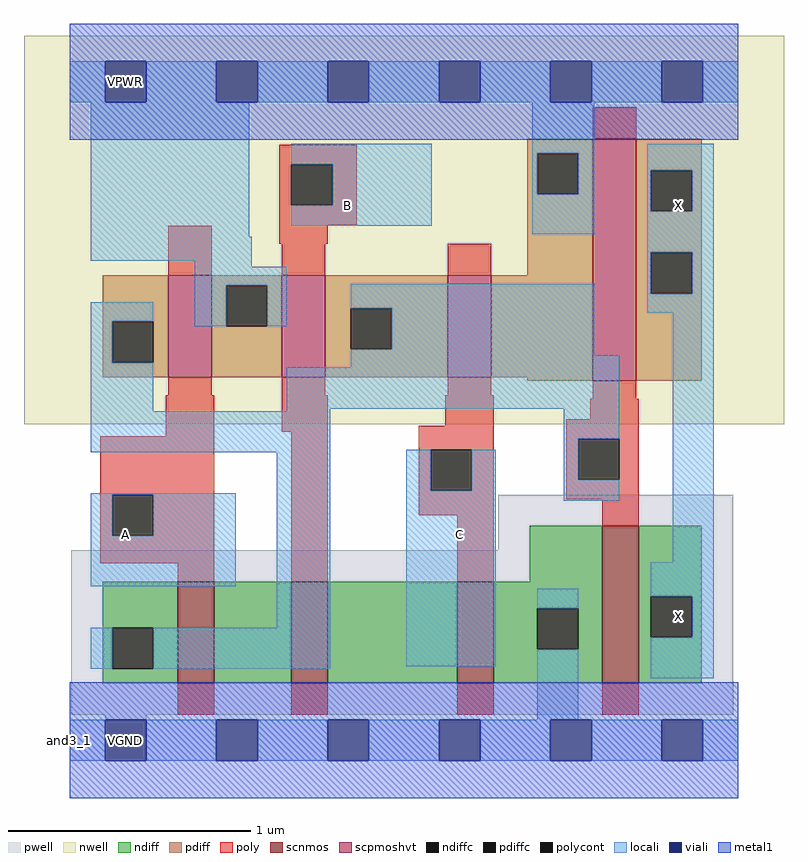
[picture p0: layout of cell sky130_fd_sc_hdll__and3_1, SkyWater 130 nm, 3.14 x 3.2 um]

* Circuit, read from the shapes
.subckt sky130_fd_sc_hdll__and3_1 A B C VGND VNB VPB VPWR X
XM1 n1 A n2 VNB sky130_fd_pr__nfet_01v8 w=0.42 l=0.15
XM2 n3 B n1 VNB sky130_fd_pr__nfet_01v8 w=0.42 l=0.15
XM3 VGND C n3 VNB sky130_fd_pr__nfet_01v8 w=0.42 l=0.15
XM4 X n2 VGND VNB sky130_fd_pr__nfet_01v8 w=0.65 l=0.15
XM5 VPWR A n2 VPB sky130_fd_pr__pfet_01v8_hvt w=0.42 l=0.18
XM6 n2 B VPWR VPB sky130_fd_pr__pfet_01v8_hvt w=0.42 l=0.18
XM7 VPWR C n2 VPB sky130_fd_pr__pfet_01v8_hvt w=0.42 l=0.18
XM8 X n2 VPWR VPB sky130_fd_pr__pfet_01v8_hvt w=1 l=0.18
.ends

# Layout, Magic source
magic
tech sky130A
magscale 1 2
<< nwell >>
rect -38 261 590 582
<< pwell >>
rect 354 157 548 203
rect 1 21 548 157
rect 29 -17 63 21
<< scnmos >>
rect 89 47 119 131
rect 183 47 213 131
rect 320 47 350 131
rect 440 47 470 177
<< scpmoshvt >>
rect 81 300 117 384
rect 175 300 211 384
rect 312 300 348 384
rect 432 297 468 497
<< ndiff >>
rect 380 131 440 177
rect 27 93 89 131
rect 27 59 35 93
rect 69 59 89 93
rect 27 47 89 59
rect 119 47 183 131
rect 213 47 320 131
rect 350 109 440 131
rect 350 75 386 109
rect 420 75 440 109
rect 350 47 440 75
rect 470 119 522 177
rect 470 85 480 119
rect 514 85 522 119
rect 470 47 522 85
<< pdiff >>
rect 378 485 432 497
rect 378 451 386 485
rect 420 451 432 485
rect 378 384 432 451
rect 27 346 81 384
rect 27 312 35 346
rect 69 312 81 346
rect 27 300 81 312
rect 117 376 175 384
rect 117 342 129 376
rect 163 342 175 376
rect 117 300 175 342
rect 211 357 312 384
rect 211 323 232 357
rect 266 323 312 357
rect 211 300 312 323
rect 348 300 432 384
rect 378 297 432 300
rect 468 471 522 497
rect 468 437 480 471
rect 514 437 522 471
rect 468 403 522 437
rect 468 369 480 403
rect 514 369 522 403
rect 468 297 522 369
<< ndiffc >>
rect 35 59 69 93
rect 386 75 420 109
rect 480 85 514 119
<< pdiffc >>
rect 386 451 420 485
rect 35 312 69 346
rect 129 342 163 376
rect 232 323 266 357
rect 480 437 514 471
rect 480 369 514 403
<< poly >>
rect 432 497 468 523
rect 173 476 237 492
rect 173 442 183 476
rect 217 442 237 476
rect 173 426 237 442
rect 81 384 117 425
rect 173 410 213 426
rect 175 384 211 410
rect 312 384 348 410
rect 81 285 117 300
rect 175 285 211 300
rect 312 285 348 300
rect 79 251 119 285
rect 175 255 213 285
rect 310 260 350 285
rect 432 282 468 297
rect 430 265 470 282
rect 25 203 119 251
rect 25 169 35 203
rect 69 169 119 203
rect 25 146 119 169
rect 89 131 119 146
rect 183 131 213 255
rect 288 240 350 260
rect 288 206 298 240
rect 332 206 350 240
rect 288 186 350 206
rect 410 249 470 265
rect 410 215 420 249
rect 454 215 470 249
rect 410 199 470 215
rect 320 131 350 186
rect 440 177 470 199
rect 89 21 119 47
rect 183 21 213 47
rect 320 21 350 47
rect 440 21 470 47
<< polycont >>
rect 183 442 217 476
rect 35 169 69 203
rect 298 206 332 240
rect 420 215 454 249
<< locali >>
rect 0 527 29 561
rect 63 527 121 561
rect 155 527 213 561
rect 247 527 305 561
rect 339 527 397 561
rect 431 527 489 561
rect 523 527 552 561
rect 17 416 148 527
rect 183 476 299 493
rect 217 442 299 476
rect 183 425 299 442
rect 382 485 433 527
rect 382 451 386 485
rect 420 451 433 485
rect 382 418 433 451
rect 477 471 532 493
rect 477 437 480 471
rect 514 437 532 471
rect 17 396 150 416
rect 103 391 150 396
rect 477 403 532 437
rect 103 376 179 391
rect 17 346 69 362
rect 17 312 35 346
rect 103 342 129 376
rect 163 342 179 376
rect 232 357 433 377
rect 17 272 69 312
rect 266 323 433 357
rect 477 369 480 403
rect 514 369 532 403
rect 477 353 532 369
rect 232 318 433 323
rect 232 308 454 318
rect 179 274 454 308
rect 179 272 215 274
rect 17 238 215 272
rect 408 249 454 274
rect 17 203 137 204
rect 17 169 35 203
rect 69 169 137 203
rect 17 127 137 169
rect 171 93 215 238
rect 17 59 35 93
rect 69 59 215 93
rect 278 206 298 240
rect 332 206 352 240
rect 278 61 352 206
rect 408 215 420 249
rect 408 198 454 215
rect 498 147 532 353
rect 386 109 420 125
rect 386 17 420 75
rect 480 119 532 147
rect 514 85 532 119
rect 480 51 532 85
rect 0 -17 29 17
rect 63 -17 121 17
rect 155 -17 213 17
rect 247 -17 305 17
rect 339 -17 397 17
rect 431 -17 489 17
rect 523 -17 552 17
<< viali >>
rect 29 527 63 561
rect 121 527 155 561
rect 213 527 247 561
rect 305 527 339 561
rect 397 527 431 561
rect 489 527 523 561
rect 29 -17 63 17
rect 121 -17 155 17
rect 213 -17 247 17
rect 305 -17 339 17
rect 397 -17 431 17
rect 489 -17 523 17
<< metal1 >>
rect 0 561 552 592
rect 0 527 29 561
rect 63 527 121 561
rect 155 527 213 561
rect 247 527 305 561
rect 339 527 397 561
rect 431 527 489 561
rect 523 527 552 561
rect 0 496 552 527
rect 0 17 552 48
rect 0 -17 29 17
rect 63 -17 121 17
rect 155 -17 213 17
rect 247 -17 305 17
rect 339 -17 397 17
rect 431 -17 489 17
rect 523 -17 552 17
rect 0 -48 552 -17
<< labels >>
flabel metal1 s 29 -17 63 17 0 FreeSans 200 0 0 0 VGND
port 4 nsew ground bidirectional
flabel metal1 s 29 527 63 561 0 FreeSans 200 0 0 0 VPWR
port 7 nsew power bidirectional
flabel locali s 486 425 520 459 0 FreeSans 200 0 0 0 X
port 8 nsew signal output
flabel locali s 486 85 520 119 0 FreeSans 200 0 0 0 X
port 8 nsew signal output
flabel locali s 212 425 246 459 0 FreeSans 400 0 0 0 B
port 2 nsew signal input
flabel locali s 29 153 63 187 0 FreeSans 400 0 0 0 A
port 1 nsew signal input
flabel locali s 305 153 339 187 0 FreeSans 400 0 0 0 C
port 3 nsew signal input
flabel nwell s 29 527 63 561 0 FreeSans 200 0 0 0 VPB
port 6 nsew power bidirectional
flabel pwell s 29 -17 63 17 0 FreeSans 200 0 0 0 VNB
port 5 nsew ground bidirectional
rlabel comment s 0 0 0 0 4 and3_1
<< properties >>
string LEFsite unithd
string LEFclass CORE
string FIXED_BBOX 0 0 552 544
string GDS_FILE $PDKPATH/libs.ref/sky130_fd_sc_hdll/gds/sky130_fd_sc_hdll.gds
string LEFsymmetry X Y R90
string GDS_END 1791940
string GDS_START 1786802
string LEFproperties maskLayoutSubType "abstract" prCellType "standard" originalViewName "layout"
<< end >>
